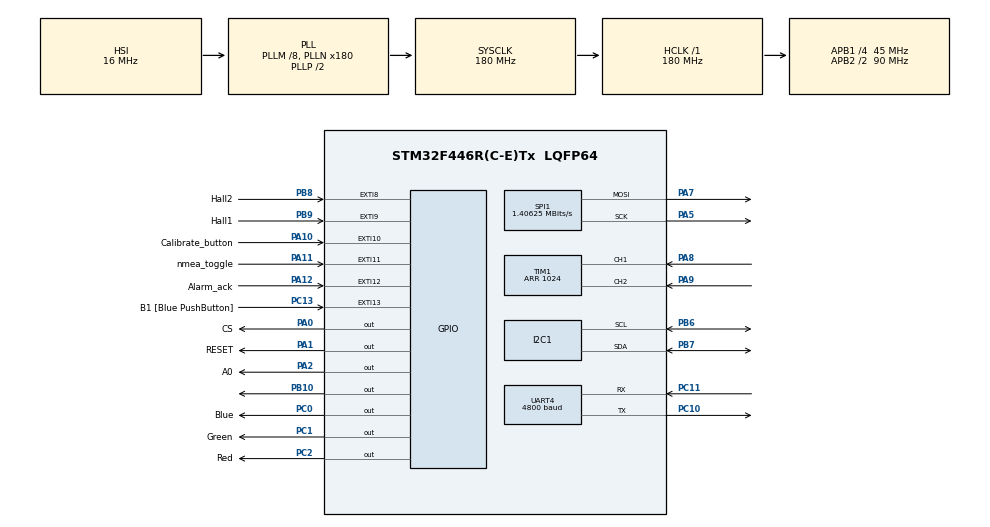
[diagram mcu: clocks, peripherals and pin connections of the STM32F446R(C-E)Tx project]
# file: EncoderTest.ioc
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Mcu.Family=STM32F4
Mcu.Name=STM32F446R(C-E)Tx
Mcu.Package=LQFP64
NVIC.EXTI15_10_IRQn=true\:0\:0\:false\:false\:true\:true\:true\:true
NVIC.EXTI9_5_IRQn=true\:0\:0\:false\:true\:true\:4\:true\:true\:true
NVIC.PriorityGroup=NVIC_PRIORITYGROUP_0
NVIC.TIM2_IRQn=true\:0\:0\:false\:true\:true\:1\:true\:true\:true
NVIC.TIM3_IRQn=true\:0\:0\:false\:true\:true\:2\:true\:true\:true
NVIC.UART4_IRQn=true\:0\:0\:false\:true\:true\:3\:true\:true\:true
PA0-WKUP.GPIO_Label=CS
PA0-WKUP.Signal=GPIO_Output
PA1.GPIO_Label=RESET
PA1.Signal=GPIO_Output
PA10.GPIO_Label=Calibrate_button
PA10.GPIO_PuPd=GPIO_PULLDOWN
PA10.Signal=GPXTI10
PA11.GPIO_Label=nmea_toggle
PA11.GPIO_PuPd=GPIO_PULLDOWN
PA11.Signal=GPXTI11
PA12.GPIO_Label=Alarm_ack
PA12.GPIO_PuPd=GPIO_PULLDOWN
PA12.Signal=GPXTI12
PA13.GPIO_Label=TMS
PA13.Mode=Trace_Asynchronous_SW
PA13.Signal=SYS_JTMS-SWDIO
PA14.GPIO_Label=TCK
PA14.Mode=Trace_Asynchronous_SW
PA14.Signal=SYS_JTCK-SWCLK
PA2.GPIO_Label=A0
PA2.Signal=GPIO_Output
PA3.GPIO_Label=USART_RX
PA3.Signal=USART2_RX
PA5.Mode=TX_Only_Simplex_Unidirect_Master
PA5.Signal=SPI1_SCK
PA7.Mode=TX_Only_Simplex_Unidirect_Master
PA7.Signal=SPI1_MOSI
PA8.Signal=S_TIM1_CH1
PA9.Signal=S_TIM1_CH2
PB10.Signal=GPIO_Output
PB3.GPIO_Label=SWO
PB3.Mode=Trace_Asynchronous_SW
PB3.Signal=SYS_JTDO-SWO
PB6.Mode=I2C
PB6.Signal=I2C1_SCL
PB7.Mode=I2C
PB7.Signal=I2C1_SDA
PB8.GPIO_Label=Hall2
PB8.GPIO_ModeDefaultEXTI=GPIO_MODE_IT_RISING_FALLING
PB8.Signal=GPXTI8
PB9.GPIO_Label=Hall1
PB9.GPIO_ModeDefaultEXTI=GPIO_MODE_IT_RISING_FALLING
PB9.Signal=GPXTI9
PC0.GPIO_Label=Blue
PC0.Signal=GPIO_Output
PC1.GPIO_Label=Green
PC1.Signal=GPIO_Output
PC10.Mode=Asynchronous
PC10.Signal=UART4_TX
PC11.Mode=Asynchronous
PC11.Signal=UART4_RX
PC13.GPIO_Label=B1 [Blue PushButton]
PC13.GPIO_ModeDefaultEXTI=GPIO_MODE_IT_FALLING
PC13.Signal=GPXTI13
PC14-OSC32_IN.Signal=RCC_OSC32_IN
PC15-OSC32_OUT.Signal=RCC_OSC32_OUT
PC2.GPIO_Label=Red
PC2.Signal=GPIO_Output
PH0-OSC_IN.Mode=HSE-External-Oscillator
PH0-OSC_IN.Signal=RCC_OSC_IN
PH1-OSC_OUT.Mode=HSE-External-Oscillator
PH1-OSC_OUT.Signal=RCC_OSC_OUT
ProjectManager.HeapSize=0x200
ProjectManager.StackSize=0x400
ProjectManager.TargetToolchain=STM32CubeIDE
RCC.48MHZClocksFreq_Value=84000000
RCC.AHBFreq_Value=180000000
RCC.APB1CLKDivider=RCC_HCLK_DIV4
RCC.APB1Freq_Value=45000000
RCC.APB1TimFreq_Value=180000000
RCC.APB2CLKDivider=RCC_HCLK_DIV2
RCC.APB2Freq_Value=90000000
RCC.APB2TimFreq_Value=180000000
RCC.CortexFreq_Value=180000000
RCC.FLatency-AdvancedSettings=FLASH_LATENCY_5
RCC.HCLKFreq_Value=180000000
RCC.HSE_VALUE=8000000
RCC.HSI_VALUE=16000000
RCC.PLLM=8
RCC.PLLN=180
RCC.RCC_TIM_PRescaler_Selection=RCC_TIMPRES_ACTIVATED
RCC.SYSCLKFreq_VALUE=180000000
RCC.SYSCLKSource=RCC_SYSCLKSOURCE_PLLCLK
RCC.USBFreq_Value=180000000
RCC.VCOOutputFreq_Value=360000000
SH.S_TIM1_CH1.0=TIM1_CH1,Encoder_Interface
SH.S_TIM1_CH2.0=TIM1_CH2,Encoder_Interface
SPI1.BaudRatePrescaler=SPI_BAUDRATEPRESCALER_64
SPI1.CalculateBaudRate=1.40625 MBits/s
SPI1.Direction=SPI_DIRECTION_2LINES
SPI1.Mode=SPI_MODE_MASTER
SPI1.VirtualType=VM_MASTER
TIM1.Period=1024
TIM2.Period=37500
TIM2.Prescaler=0
TIM2.TIM_MasterOutputTrigger=TIM_TRGO_RESET
TIM2.TIM_MasterSlaveMode=TIM_MASTERSLAVEMODE_DISABLE
TIM3.Period=10000-1
TIM3.Prescaler=10-1
UART4.BaudRate=4800
UART4.Mode=MODE_RX
UART4.VirtualMode=Asynchronous
VP_TIM2_VS_ClockSourceINT.Mode=Internal
VP_TIM3_VS_ClockSourceINT.Mode=Internal
board=NUCLEO-F446RE

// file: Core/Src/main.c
/* USER CODE BEGIN Header */
/**
  ******************************************************************************
  * @file           : main.c
  * @brief          : Main program body
  ******************************************************************************
  * @attention
  *
  * Copyright (c) 2025 STMicroelectronics.
  * All rights reserved.
  *
  * This software is licensed under terms that can be found in the LICENSE file
  * in the root directory of this software component.
  * If no LICENSE file comes with this software, it is provided AS-IS.
  *
  ******************************************************************************
  */
/* USER CODE END Header */
#include "main.h"

/* USER CODE BEGIN Includes */
#include <stdio.h>
#include <stdlib.h>// only for absolute value in calc depth function could remove if we get low on space
#include <math.h>
#include "bmi323.h"
#include "common.h"
#include "bmi3.h"
#include <string.h>

#include"ST7565.h"
#include"RDB_depth_digits_36x58.h"
#include"RDB_Functions.h"
/* USER CODE END Includes */

I2C_HandleTypeDef hi2c1;

SPI_HandleTypeDef hspi1;

TIM_HandleTypeDef htim1;
TIM_HandleTypeDef htim2;
TIM_HandleTypeDef htim3;

UART_HandleTypeDef huart4;

void SystemClock_Config(void);
void PeriphCommonClock_Config(void);
static void MX_GPIO_Init(void);
static void MX_TIM1_Init(void);
static void MX_I2C1_Init(void);
static void MX_TIM2_Init(void);
static void MX_TIM3_Init(void);
static void MX_UART4_Init(void);
static void MX_SPI1_Init(void);
static void MX_NVIC_Init(void);
/* USER CODE BEGIN PFP */
static int8_t set_accel_gyro_config(struct bmi3_dev *dev);
static float  lsb_to_g  (int16_t val, float g_range, uint8_t bit_width);
static float  lsb_to_dps(int16_t val, float dps,     uint8_t bit_width);
void check_buffer();
void clear_buff();
static void on_A_rise();
static void on_A_fall();
static void on_B_rise();
static void on_B_fall();
void calculate_depth();
void check_angle();
void compare_depths();
void reset_depth();
void update_backlight();

/* USER CODE END PFP */

/* USER CODE BEGIN 0 */
//encoder stuff
uint32_t position=0;
float angle=0.0;

uint32_t hall_data =  0;

//nmea stuff
uint8_t rx_buff[1];
unsigned char nmea[87];
uint8_t i=0;

//hall effect stuff
volatile uint8_t HallA = 1;
volatile uint8_t HallB = 1;

volatile uint32_t magnets_total = 0;
volatile uint32_t magnets_cw    = 0;
volatile uint32_t magnets_ccw   = 0;
volatile int32_t  magnets_net   = 0;// cw - ccw

float magnets_in_array=4.0;
float circumference_inches = 7.22; // measured 2.3 inches diameter by calipers

float line_out=0.0;
float depth_ft=0.0;
uint8_t nmea_on=0;
uint8_t motor_on=0;

int nmea_depth_ft=50;

uint32_t last_button=0;

uint8_t debounce=250;
typedef enum {
  IDLE = 0,
  WAIT_B_AFTER_A=1,
  WAIT_A_AFTER_B=2
} state;

static volatile state  Magnet_st= IDLE;

uint8_t BL_state=1;

uint32_t Last_tick=0;

uint32_t Blink_period=2000;

uint8_t blink=0;

/* Sensor initialization configuration. */
 struct bmi3_dev dev = { 0 };

 /* Status of API are returned to this variable. */
 int8_t rslt;

 /* Variable to define limit to print accel data. */
 uint16_t limit = 100;

 /* Create an instance of sensor data structure. */
 struct bmi3_sensor_data sensor_data[3] = { 0 };

 /* Initialize the interrupt status of accel. */
 uint16_t int_status = 0;

 /* Variable to store temperature */
 float temperature_value;

 uint8_t indx = 0;
 float acc_x = 0, acc_y = 0, acc_z = 0;
 float gyr_x = 0, gyr_y = 0, gyr_z = 0;

/* USER CODE END 0 */

int main(void)
{

  /* MCU Configuration--------------------------------------------------------*/

  /* Reset of all peripherals, Initializes the Flash interface and the Systick. */
  HAL_Init();

  /* Configure the system clock */
  SystemClock_Config();

  /* Configure the peripherals common clocks */
  PeriphCommonClock_Config();

  /* Initialize all configured peripherals */
  MX_GPIO_Init();
  MX_TIM1_Init();
  MX_I2C1_Init();
  MX_TIM2_Init();
  MX_TIM3_Init();
  MX_UART4_Init();
  MX_SPI1_Init();

  /* Initialize interrupts */
  MX_NVIC_Init();
  /* USER CODE BEGIN 2 */
  HAL_TIM_Encoder_Start(&htim1, TIM_CHANNEL_ALL);

  HAL_UART_Receive_IT(&huart4, rx_buff, 1);
  //copied code from library Bosch bmi323

   /* Function to select interface between SPI and I2C, according to that the device structure gets updated.
    * Interface reference is given as a parameter
    * For I2C : BMI3_I2C_INTF
    * For SPI : BMI3_SPI_INTF
    */
  /* Select accel and gyro sensor. */
   sensor_data[0].type = BMI323_ACCEL;
   sensor_data[1].type = BMI323_GYRO;
   sensor_data[2].type = BMI323_TEMP;
   rslt = bmi3_interface_init(&dev, BMI3_I2C_INTF);
   bmi3_error_codes_print_result("bmi3_interface_init", rslt);

   /* Initialize bmi323. */
   rslt = bmi323_init(&dev);
   bmi3_error_codes_print_result("bmi323_init", rslt);
   ST7565_init();

//end of copied code the rest is in while loop sd

  /* USER CODE END 2 */

  /* Infinite loop */
  /* USER CODE BEGIN WHILE */
  while (1)
  {
	  /* Infinite loop

      //copied  direct read (no interrupt status check)
	    if (rslt == BMI323_OK)
	    {
	        // Accel and Gyro configuration settings.
	        rslt = set_accel_gyro_config(&dev);

	        if (rslt == BMI323_OK)
	        {
	            //printf(
	            //    "\nData set, Acc_Raw_X, Acc_Raw_Y, Acc_Raw_Z, Acc_G_X, Acc_G_Y, Acc_G_Z,  Gyr_Raw_X, Gyr_Raw_Y, Gyr_Raw_Z, Gyr_dps_X, Gyr_dps_Y, Gyr_dps_Z, Temperature data (Degree celsius), SensorTime(secs)\n\n");

	                // To get the status of accel data ready interrupt.
	                rslt = bmi323_get_int1_status(&int_status, &dev);
	                bmi3_error_codes_print_result("bmi323_get_int1_status", rslt);

	            // To check the accel data ready interrupt status and print the status for 100 samples.
	                if ((int_status & BMI3_INT_STATUS_ACC_DRDY) && (int_status & BMI3_INT_STATUS_GYR_DRDY) &&
	                    (int_status & BMI3_INT_STATUS_TEMP_DRDY))
	                {
	                    //Get accelerometer data for x, y and z axis.
	                    rslt = bmi323_get_sensor_data(sensor_data, 3, &dev);
	                    bmi3_error_codes_print_result("bmi323_get_sensor_data", rslt);

	                     //Converting lsb to gravity for 16 bit accelerometer at 2G range.
	                    gyr_x = lsb_to_g(sensor_data[0].sens_data.acc.x, 2.0f, dev.resolution);
	                    gyr_y = lsb_to_g(sensor_data[0].sens_data.acc.y, 2.0f, dev.resolution);
	                    gyr_z = lsb_to_g(sensor_data[0].sens_data.acc.z, 2.0f, dev.resolution);

	                   // Converting lsb to degree per second for 16 bit gyro at 2000dps range.
	                    acc_x = lsb_to_dps(sensor_data[1].sens_data.gyr.x, (float)2000, dev.resolution);
	                    acc_y = lsb_to_dps(sensor_data[1].sens_data.gyr.y, (float)2000, dev.resolution);
	                    acc_z = lsb_to_dps(sensor_data[1].sens_data.gyr.z, (float)2000, dev.resolution);

	                    temperature_value =
	                        (float)((((float)((int16_t)sensor_data[2].sens_data.temp.temp_data)) / 512.0) + 23.0);

	                    // Print the accel data in gravity and gyro data in dps.
	                    printf("%d, %d, %d, %d, %4.2f, %4.2f, %4.2f, %d, %d, %d, %4.2f, %4.2f, %4.2f, %f, %.4lf\n",
	                           indx,
	                           sensor_data[0].sens_data.acc.x,
	                           sensor_data[0].sens_data.acc.y,
	                           sensor_data[0].sens_data.acc.z,
	                           acc_x,
	                           acc_y,
	                           acc_z,
	                           sensor_data[1].sens_data.gyr.x,
	                           sensor_data[1].sens_data.gyr.y,
	                           sensor_data[1].sens_data.gyr.z,
	                           gyr_x,
	                           gyr_y,
	                           gyr_z,
	                           temperature_value,
	                           (sensor_data[1].sens_data.temp.sens_time * BMI3_SENSORTIME_RESOLUTION));

	            }
	        }
	    }

  	  	 */

	  check_buffer();
	  check_angle();
	  calculate_depth(); //calculates depth
	  parseDepthVal((int)(round(depth_ft)),nmea_on);

	  compare_depths(); // this is only function that controls motor comment it out when necessary

	  update_backlight();

    /* USER CODE END WHILE */

  }
}

void SystemClock_Config(void)
{
  RCC_OscInitTypeDef RCC_OscInitStruct = {0};
  RCC_ClkInitTypeDef RCC_ClkInitStruct = {0};

  /** Configure the main internal regulator output voltage
  */
  __HAL_RCC_PWR_CLK_ENABLE();
  __HAL_PWR_VOLTAGESCALING_CONFIG(PWR_REGULATOR_VOLTAGE_SCALE1);

  /** Initializes the RCC Oscillators according to the specified parameters
  * in the RCC_OscInitTypeDef structure.
  */
  RCC_OscInitStruct.OscillatorType = RCC_OSCILLATORTYPE_HSI;
  RCC_OscInitStruct.HSIState = RCC_HSI_ON;
  RCC_OscInitStruct.HSICalibrationValue = RCC_HSICALIBRATION_DEFAULT;
  RCC_OscInitStruct.PLL.PLLState = RCC_PLL_ON;
  RCC_OscInitStruct.PLL.PLLSource = RCC_PLLSOURCE_HSI;
  RCC_OscInitStruct.PLL.PLLM = 8;
  RCC_OscInitStruct.PLL.PLLN = 180;
  RCC_OscInitStruct.PLL.PLLP = RCC_PLLP_DIV2;
  RCC_OscInitStruct.PLL.PLLQ = 2;
  RCC_OscInitStruct.PLL.PLLR = 2;
  if (HAL_RCC_OscConfig(&RCC_OscInitStruct) != HAL_OK)
  {
    Error_Handler();
  }

  /** Activate the Over-Drive mode
  */
  if (HAL_PWREx_EnableOverDrive() != HAL_OK)
  {
    Error_Handler();
  }

  /** Initializes the CPU, AHB and APB buses clocks
  */
  RCC_ClkInitStruct.ClockType = RCC_CLOCKTYPE_HCLK|RCC_CLOCKTYPE_SYSCLK
                              |RCC_CLOCKTYPE_PCLK1|RCC_CLOCKTYPE_PCLK2;
  RCC_ClkInitStruct.SYSCLKSource = RCC_SYSCLKSOURCE_PLLCLK;
  RCC_ClkInitStruct.AHBCLKDivider = RCC_SYSCLK_DIV1;
  RCC_ClkInitStruct.APB1CLKDivider = RCC_HCLK_DIV4;
  RCC_ClkInitStruct.APB2CLKDivider = RCC_HCLK_DIV2;

  if (HAL_RCC_ClockConfig(&RCC_ClkInitStruct, FLASH_LATENCY_5) != HAL_OK)
  {
    Error_Handler();
  }
}

void PeriphCommonClock_Config(void)
{
  RCC_PeriphCLKInitTypeDef PeriphClkInitStruct = {0};

  /** Initializes the peripherals clock
  */
  PeriphClkInitStruct.PeriphClockSelection = RCC_PERIPHCLK_TIM;
  PeriphClkInitStruct.TIMPresSelection = RCC_TIMPRES_ACTIVATED;
  if (HAL_RCCEx_PeriphCLKConfig(&PeriphClkInitStruct) != HAL_OK)
  {
    Error_Handler();
  }
}

/**
  * @brief NVIC Configuration.
  * @retval None
  */
static void MX_NVIC_Init(void)
{
  /* TIM2_IRQn interrupt configuration */
  HAL_NVIC_SetPriority(TIM2_IRQn, 0, 0);
  HAL_NVIC_EnableIRQ(TIM2_IRQn);
  /* TIM3_IRQn interrupt configuration */
  HAL_NVIC_SetPriority(TIM3_IRQn, 0, 0);
  HAL_NVIC_EnableIRQ(TIM3_IRQn);
  /* UART4_IRQn interrupt configuration */
  HAL_NVIC_SetPriority(UART4_IRQn, 0, 0);
  HAL_NVIC_EnableIRQ(UART4_IRQn);
  /* EXTI9_5_IRQn interrupt configuration */
  HAL_NVIC_SetPriority(EXTI9_5_IRQn, 0, 0);
  HAL_NVIC_EnableIRQ(EXTI9_5_IRQn);
}

static void MX_I2C1_Init(void)
{

  hi2c1.Instance = I2C1;
  hi2c1.Init.ClockSpeed = 100000;
  hi2c1.Init.DutyCycle = I2C_DUTYCYCLE_2;
  hi2c1.Init.OwnAddress1 = 0;
  hi2c1.Init.AddressingMode = I2C_ADDRESSINGMODE_7BIT;
  hi2c1.Init.DualAddressMode = I2C_DUALADDRESS_DISABLE;
  hi2c1.Init.OwnAddress2 = 0;
  hi2c1.Init.GeneralCallMode = I2C_GENERALCALL_DISABLE;
  hi2c1.Init.NoStretchMode = I2C_NOSTRETCH_DISABLE;
  if (HAL_I2C_Init(&hi2c1) != HAL_OK)
  {
    Error_Handler();
  }

}

static void MX_SPI1_Init(void)
{

  /* SPI1 parameter configuration*/
  hspi1.Instance = SPI1;
  hspi1.Init.Mode = SPI_MODE_MASTER;
  hspi1.Init.Direction = SPI_DIRECTION_2LINES;
  hspi1.Init.DataSize = SPI_DATASIZE_8BIT;
  hspi1.Init.CLKPolarity = SPI_POLARITY_LOW;
  hspi1.Init.CLKPhase = SPI_PHASE_1EDGE;
  hspi1.Init.NSS = SPI_NSS_SOFT;
  hspi1.Init.BaudRatePrescaler = SPI_BAUDRATEPRESCALER_64;
  hspi1.Init.FirstBit = SPI_FIRSTBIT_MSB;
  hspi1.Init.TIMode = SPI_TIMODE_DISABLE;
  hspi1.Init.CRCCalculation = SPI_CRCCALCULATION_DISABLE;
  hspi1.Init.CRCPolynomial = 10;
  if (HAL_SPI_Init(&hspi1) != HAL_OK)
  {
    Error_Handler();
  }

}

static void MX_TIM1_Init(void)
{

  TIM_Encoder_InitTypeDef sConfig = {0};
  TIM_MasterConfigTypeDef sMasterConfig = {0};

  htim1.Instance = TIM1;
  htim1.Init.Prescaler = 0;
  htim1.Init.CounterMode = TIM_COUNTERMODE_UP;
  htim1.Init.Period = 1024;
  htim1.Init.ClockDivision = TIM_CLOCKDIVISION_DIV1;
  htim1.Init.RepetitionCounter = 0;
  htim1.Init.AutoReloadPreload = TIM_AUTORELOAD_PRELOAD_DISABLE;
  sConfig.EncoderMode = TIM_ENCODERMODE_TI1;
  sConfig.IC1Polarity = TIM_ICPOLARITY_RISING;
  sConfig.IC1Selection = TIM_ICSELECTION_DIRECTTI;
  sConfig.IC1Prescaler = TIM_ICPSC_DIV1;
  sConfig.IC1Filter = 0;
  sConfig.IC2Polarity = TIM_ICPOLARITY_RISING;
  sConfig.IC2Selection = TIM_ICSELECTION_DIRECTTI;
  sConfig.IC2Prescaler = TIM_ICPSC_DIV1;
  sConfig.IC2Filter = 0;
  if (HAL_TIM_Encoder_Init(&htim1, &sConfig) != HAL_OK)
  {
    Error_Handler();
  }
  sMasterConfig.MasterOutputTrigger = TIM_TRGO_RESET;
  sMasterConfig.MasterSlaveMode = TIM_MASTERSLAVEMODE_DISABLE;
  if (HAL_TIMEx_MasterConfigSynchronization(&htim1, &sMasterConfig) != HAL_OK)
  {
    Error_Handler();
  }

}

static void MX_TIM2_Init(void)
{

  TIM_ClockConfigTypeDef sClockSourceConfig = {0};
  TIM_MasterConfigTypeDef sMasterConfig = {0};

  htim2.Instance = TIM2;
  htim2.Init.Prescaler = 0;
  htim2.Init.CounterMode = TIM_COUNTERMODE_UP;
  htim2.Init.Period = 37500;
  htim2.Init.ClockDivision = TIM_CLOCKDIVISION_DIV1;
  htim2.Init.AutoReloadPreload = TIM_AUTORELOAD_PRELOAD_DISABLE;
  if (HAL_TIM_Base_Init(&htim2) != HAL_OK)
  {
    Error_Handler();
  }
  sClockSourceConfig.ClockSource = TIM_CLOCKSOURCE_INTERNAL;
  if (HAL_TIM_ConfigClockSource(&htim2, &sClockSourceConfig) != HAL_OK)
  {
    Error_Handler();
  }
  sMasterConfig.MasterOutputTrigger = TIM_TRGO_RESET;
  sMasterConfig.MasterSlaveMode = TIM_MASTERSLAVEMODE_DISABLE;
  if (HAL_TIMEx_MasterConfigSynchronization(&htim2, &sMasterConfig) != HAL_OK)
  {
    Error_Handler();
  }

}

static void MX_TIM3_Init(void)
{

  TIM_ClockConfigTypeDef sClockSourceConfig = {0};
  TIM_MasterConfigTypeDef sMasterConfig = {0};

  htim3.Instance = TIM3;
  htim3.Init.Prescaler = 10-1;
  htim3.Init.CounterMode = TIM_COUNTERMODE_UP;
  htim3.Init.Period = 10000-1;
  htim3.Init.ClockDivision = TIM_CLOCKDIVISION_DIV1;
  htim3.Init.AutoReloadPreload = TIM_AUTORELOAD_PRELOAD_DISABLE;
  if (HAL_TIM_Base_Init(&htim3) != HAL_OK)
  {
    Error_Handler();
  }
  sClockSourceConfig.ClockSource = TIM_CLOCKSOURCE_INTERNAL;
  if (HAL_TIM_ConfigClockSource(&htim3, &sClockSourceConfig) != HAL_OK)
  {
    Error_Handler();
  }
  sMasterConfig.MasterOutputTrigger = TIM_TRGO_RESET;
  sMasterConfig.MasterSlaveMode = TIM_MASTERSLAVEMODE_DISABLE;
  if (HAL_TIMEx_MasterConfigSynchronization(&htim3, &sMasterConfig) != HAL_OK)
  {
    Error_Handler();
  }

}

static void MX_UART4_Init(void)
{

  huart4.Instance = UART4;
  huart4.Init.BaudRate = 4800;
  huart4.Init.WordLength = UART_WORDLENGTH_8B;
  huart4.Init.StopBits = UART_STOPBITS_1;
  huart4.Init.Parity = UART_PARITY_NONE;
  huart4.Init.Mode = UART_MODE_RX;
  huart4.Init.HwFlowCtl = UART_HWCONTROL_NONE;
  huart4.Init.OverSampling = UART_OVERSAMPLING_16;
  if (HAL_UART_Init(&huart4) != HAL_OK)
  {
    Error_Handler();
  }

}

static void MX_GPIO_Init(void)
{
  GPIO_InitTypeDef GPIO_InitStruct = {0};

  /* GPIO Ports Clock Enable */
  __HAL_RCC_GPIOC_CLK_ENABLE();
  __HAL_RCC_GPIOH_CLK_ENABLE();
  __HAL_RCC_GPIOA_CLK_ENABLE();
  __HAL_RCC_GPIOB_CLK_ENABLE();

  /*Configure GPIO pin Output Level */
  HAL_GPIO_WritePin(GPIOC, Blue_Pin|Green_Pin|Red_Pin, GPIO_PIN_RESET);

  /*Configure GPIO pin Output Level */
  HAL_GPIO_WritePin(GPIOA, CS_Pin|RESET_Pin|A0_Pin, GPIO_PIN_RESET);

  /*Configure GPIO pin Output Level */
  HAL_GPIO_WritePin(GPIOB, GPIO_PIN_10, GPIO_PIN_RESET);

  /*Configure GPIO pin : B1_Pin */
  GPIO_InitStruct.Pin = B1_Pin;
  GPIO_InitStruct.Mode = GPIO_MODE_IT_FALLING;
  GPIO_InitStruct.Pull = GPIO_NOPULL;
  HAL_GPIO_Init(B1_GPIO_Port, &GPIO_InitStruct);

  /*Configure GPIO pins : Blue_Pin Green_Pin Red_Pin */
  GPIO_InitStruct.Pin = Blue_Pin|Green_Pin|Red_Pin;
  GPIO_InitStruct.Mode = GPIO_MODE_OUTPUT_PP;
  GPIO_InitStruct.Pull = GPIO_NOPULL;
  GPIO_InitStruct.Speed = GPIO_SPEED_FREQ_LOW;
  HAL_GPIO_Init(GPIOC, &GPIO_InitStruct);

  /*Configure GPIO pins : CS_Pin RESET_Pin A0_Pin */
  GPIO_InitStruct.Pin = CS_Pin|RESET_Pin|A0_Pin;
  GPIO_InitStruct.Mode = GPIO_MODE_OUTPUT_PP;
  GPIO_InitStruct.Pull = GPIO_NOPULL;
  GPIO_InitStruct.Speed = GPIO_SPEED_FREQ_LOW;
  HAL_GPIO_Init(GPIOA, &GPIO_InitStruct);

  /*Configure GPIO pin : USART_RX_Pin */
  GPIO_InitStruct.Pin = USART_RX_Pin;
  GPIO_InitStruct.Mode = GPIO_MODE_AF_PP;
  GPIO_InitStruct.Pull = GPIO_NOPULL;
  GPIO_InitStruct.Speed = GPIO_SPEED_FREQ_VERY_HIGH;
  GPIO_InitStruct.Alternate = GPIO_AF7_USART2;
  HAL_GPIO_Init(USART_RX_GPIO_Port, &GPIO_InitStruct);

  /*Configure GPIO pin : PB10 */
  GPIO_InitStruct.Pin = GPIO_PIN_10;
  GPIO_InitStruct.Mode = GPIO_MODE_OUTPUT_PP;
  GPIO_InitStruct.Pull = GPIO_NOPULL;
  GPIO_InitStruct.Speed = GPIO_SPEED_FREQ_LOW;
  HAL_GPIO_Init(GPIOB, &GPIO_InitStruct);

  /*Configure GPIO pins : Calibrate_button_Pin nmea_toggle_Pin Alarm_ack_Pin */
  GPIO_InitStruct.Pin = Calibrate_button_Pin|nmea_toggle_Pin|Alarm_ack_Pin;
  GPIO_InitStruct.Mode = GPIO_MODE_IT_RISING;
  GPIO_InitStruct.Pull = GPIO_PULLDOWN;
  HAL_GPIO_Init(GPIOA, &GPIO_InitStruct);

  /*Configure GPIO pins : Hall2_Pin Hall1_Pin */
  GPIO_InitStruct.Pin = Hall2_Pin|Hall1_Pin;
  GPIO_InitStruct.Mode = GPIO_MODE_IT_RISING_FALLING;
  GPIO_InitStruct.Pull = GPIO_NOPULL;
  HAL_GPIO_Init(GPIOB, &GPIO_InitStruct);

  /* EXTI interrupt init*/
  HAL_NVIC_SetPriority(EXTI15_10_IRQn, 0, 0);
  HAL_NVIC_EnableIRQ(EXTI15_10_IRQn);

}

/* USER CODE BEGIN 4 */
int __io_putchar(int ch)
{
	ITM_SendChar(ch);
	return 0;
}
void HAL_UART_RxCpltCallback(UART_HandleTypeDef *huart)
{
	if(huart->Instance == UART4){
		nmea[i]=rx_buff[0];
		i++;
		HAL_UART_Receive_IT(&huart4, rx_buff, 1);
	}
}
void check_buffer(){
	const char delim[] = ",";
	char *token;
	if(nmea[0]!=36){
		i=0;
	}
	if(nmea[i-1]==10){

		i=0;
		if (nmea[0]!='$'){
			printf("error");
		}

		printf(nmea);
		if(nmea[3]=='D' && nmea[4]=='B' && nmea[5]=='T'){
			token = strtok(nmea, delim);
			token = strtok(NULL, delim);
			nmea_depth_ft=atoi(token);
		}

		clear_buff();
	}
}
void clear_buff(){
//	for(int x=86; x>-1;--x){
//		nmea[x]= '';
//
//	}
	//actually only need this one line
	memset(&nmea,0,87);
}

//taken from bmi323 lib
static int8_t set_accel_gyro_config(struct bmi3_dev *dev)
{
    /* Status of API are returned to this variable. */
    int8_t rslt;

    /* Structure to define accelerometer configuration. */
    struct bmi3_sens_config config[2];

    /* Structure to map interrupt */
    struct bmi3_map_int map_int = { 0 };

    /* Configure the type of feature. */
    config[0].type = BMI323_ACCEL;
    config[1].type = BMI323_GYRO;

    /* Get default configurations for the type of feature selected. */
    rslt = bmi323_get_sensor_config(config, 2, dev);
    bmi3_error_codes_print_result("bmi323_get_sensor_config", rslt);

    if (rslt == BMI323_OK)
    {
        map_int.acc_drdy_int = BMI3_INT1;
        map_int.gyr_drdy_int = BMI3_INT1;
        map_int.temp_drdy_int = BMI3_INT1;

        /* Map data ready interrupt to interrupt pin. */
        rslt = bmi323_map_interrupt(map_int, dev);
        bmi3_error_codes_print_result("bmi323_map_interrupt", rslt);

        if (rslt == BMI323_OK)
        {
            /* NOTE: The user can change the following configuration parameters according to their requirement. */
            /* Output Data Rate. By default ODR is set as 100Hz for accel. */
            config[0].cfg.acc.odr = BMI3_ACC_ODR_50HZ;

            /* Gravity range of the sensor (+/- 2G, 4G, 8G, 16G). */
            config[0].cfg.acc.range = BMI3_ACC_RANGE_2G;

            /* The Accel bandwidth coefficient defines the 3 dB cutoff frequency in relation to the ODR. */
            config[0].cfg.acc.bwp = BMI3_ACC_BW_ODR_QUARTER;

            /* Set number of average samples for accel. */
            config[0].cfg.acc.avg_num = BMI3_ACC_AVG64;

            /* Enable the accel mode where averaging of samples
             * will be done based on above set bandwidth and ODR.
             * Note : By default accel is disabled. The accel will get enable by selecting the mode.
             */
            config[0].cfg.acc.acc_mode = BMI3_ACC_MODE_NORMAL;

            /* Output Data Rate. By default ODR is set as 100Hz for gyro. */
            config[1].cfg.gyr.odr = BMI3_GYR_ODR_50HZ;

            /* Gyroscope Angular Rate Measurement Range. By default the range is 2000dps. */
            config[1].cfg.gyr.range = BMI3_GYR_RANGE_2000DPS;

            /*  The Gyroscope bandwidth coefficient defines the 3 dB cutoff frequency in relation to the ODR
             *  Value   Name      Description
             *    0   odr_half   BW = gyr_odr/2
             *    1  odr_quarter BW = gyr_odr/4
             */
            config[1].cfg.gyr.bwp = BMI3_GYR_BW_ODR_HALF;

            /* By default the gyro is disabled. Gyro is enabled by selecting the mode. */
            config[1].cfg.gyr.gyr_mode = BMI3_GYR_MODE_NORMAL;

            /* Value    Name    Description
             *  0b000     avg_1   No averaging; pass sample without filtering
             *  0b001     avg_2   Averaging of 2 samples
             *  0b010     avg_4   Averaging of 4 samples
             *  0b011     avg_8   Averaging of 8 samples
             *  0b100     avg_16  Averaging of 16 samples
             *  0b101     avg_32  Averaging of 32 samples
             *  0b110     avg_64  Averaging of 64 samples
             */
            config[1].cfg.gyr.avg_num = BMI3_GYR_AVG1;

            /* Set the accel and gyro configurations. */
            rslt = bmi323_set_sensor_config(config, 2, dev);
            bmi3_error_codes_print_result("bmi323_set_sensor_config", rslt);
        }
    }

    return rslt;
}

/*! @brief Converts raw sensor values(LSB) to G value
 *
 *  @param[in] val        : Raw sensor value.
 *  @param[in] g_range    : Accel Range selected (4G).
 *  @param[in] bit_width  : Resolution of the sensor.
 *
 *  @return Accel values in Gravity(G)
 *
 */
static float lsb_to_g(int16_t val, float g_range, uint8_t bit_width)
{
    double power = 2;

    float half_scale = (float)((pow((double)power, (double)bit_width) / 2.0f));

    return (val * g_range) / half_scale;
}

/*!
 * @brief This function converts lsb to degree per second for 16 bit gyro at
 * range 125, 250, 500, 1000 or 2000dps.
 */
static float lsb_to_dps(int16_t val, float dps, uint8_t bit_width)
{
    double power = 2;

    float half_scale = (float)((pow((double)power, (double)bit_width) / 2.0f));

    return (dps / (half_scale)) * (val);
}

static void on_A_rise()
{
  switch (Magnet_st) {
    case IDLE:

    	Magnet_st = WAIT_B_AFTER_A;

    	break;
    case WAIT_A_AFTER_B:

      magnets_ccw++;
      magnets_total++;
      magnets_net= magnets_cw-magnets_ccw ;

      Magnet_st = IDLE; break;
    case WAIT_B_AFTER_A:
    	break;
  }
}

static void on_A_fall()
{
  if (Magnet_st == WAIT_B_AFTER_A && HallB) {

	  Magnet_st = IDLE;
  }
}

static void on_B_rise()
{
  switch (Magnet_st) {
    case IDLE:
    	Magnet_st = WAIT_A_AFTER_B;
    	break;
    case WAIT_B_AFTER_A:
      magnets_cw++;
      magnets_total++;
      magnets_net++;
      Magnet_st = IDLE;
      break;
    case WAIT_A_AFTER_B:
    	break;
  }
}

static void on_B_fall()
{
  if (Magnet_st == WAIT_A_AFTER_B && HallA) {

	  Magnet_st = IDLE;
  }
}
void calculate_depth(){
	magnets_net = magnets_cw - magnets_ccw;
	line_out = abs(magnets_net) * (circumference_inches/magnets_in_array)*(1.0/12.0);

	if((angle < 90.001)){
		depth_ft = line_out*(cos(angle*0.0174532925));
	}

}
void check_angle(){
	  position= TIM1->CNT;

	  //this is done in ext callback on button press
//	  if (!HAL_GPIO_ReadPin(GPIOA, GPIO_PIN_10)){
//		  __HAL_TIM_SET_COUNTER(&htim1,0);
//	  }

	  angle = (position/1024.0)*360;
	  //angle = (int)((position/2048.0)*360);

	  if (angle>180){
		angle = 360-angle;

	  }

}
void compare_depths(){
	if(nmea_on && !(BL_state==1)){
		if((int)depth_ft<10){
			HAL_GPIO_WritePin(GPIOB, GPIO_PIN_10, 0);
			motor_on=0;

			return;
		}else if(((int)depth_ft) >= nmea_depth_ft){
			//this line enables motor
			  HAL_GPIO_WritePin(GPIOB, GPIO_PIN_10, 1);
			  motor_on=1;

			  if(BL_state==2||BL_state==4||BL_state==5){
				  BL_state=3;
			  }

		}else if(motor_on && (((int)depth_ft) > (nmea_depth_ft - 5))){

			return;
		}else{
			  HAL_GPIO_WritePin(GPIOB, GPIO_PIN_10, 0);
			  motor_on=0;

			  if(BL_state==5){
				  BL_state=2;
			  }

		}
	}else{
		HAL_GPIO_WritePin(GPIOB, GPIO_PIN_10, 0);
		motor_on=0;
		if(((int)depth_ft) >= nmea_depth_ft){
			  if(BL_state==2||BL_state==3){
				  BL_state=4;
			  }
		}else{
			if(BL_state==3||BL_state==4||BL_state==5){
				BL_state=2;
			}
		}

	}

}
void reset_depth(){
	magnets_ccw=0;
	magnets_cw=0;
	return;
}

void update_backlight(){
	if(BL_state==1 || BL_state==4){
		 uint32_t now=HAL_GetTick();
		 if((now-Last_tick)>Blink_period){
			blink=!blink;

			Last_tick=now;

		}
	}else{
		blink=1;
	}

	switch(BL_state){
	case 1:
		//Flashing green needs zeroing
		if(blink){
			HAL_GPIO_WritePin(GPIOC, GPIO_PIN_0, 0);
			HAL_GPIO_WritePin(GPIOC, GPIO_PIN_1, 1);
			HAL_GPIO_WritePin(GPIOC, GPIO_PIN_2, 0);

		}else{
			HAL_GPIO_WritePin(GPIOC, GPIO_PIN_0, 1);
			HAL_GPIO_WritePin(GPIOC, GPIO_PIN_1, 1);
			HAL_GPIO_WritePin(GPIOC, GPIO_PIN_2, 1);
		}
		break;
	case 2:
		//Green all good
		HAL_GPIO_WritePin(GPIOC, GPIO_PIN_0, 0);
		HAL_GPIO_WritePin(GPIOC, GPIO_PIN_1, 1);
		HAL_GPIO_WritePin(GPIOC, GPIO_PIN_2, 0);
		break;
	case 3:
		//Red- motor reeling up or motor has reeled up and not been acknowledged
		HAL_GPIO_WritePin(GPIOC, GPIO_PIN_0, 0);
		HAL_GPIO_WritePin(GPIOC, GPIO_PIN_1, 0);
		HAL_GPIO_WritePin(GPIOC, GPIO_PIN_2, 1);
		break;
	case 4:
		//Flashing redd too close to bottom and not acknowledged and reel safe is off
		if(blink){
			HAL_GPIO_WritePin(GPIOC, GPIO_PIN_0, 0);
			HAL_GPIO_WritePin(GPIOC, GPIO_PIN_1, 0);
			HAL_GPIO_WritePin(GPIOC, GPIO_PIN_2, 1);

		}else{
			HAL_GPIO_WritePin(GPIOC, GPIO_PIN_0, 1);
			HAL_GPIO_WritePin(GPIOC, GPIO_PIN_1, 1);
			HAL_GPIO_WritePin(GPIOC, GPIO_PIN_2, 1);
		}
		break;
	case 5:
		//Blue is alarm acknolwged but still below depth threshold
		HAL_GPIO_WritePin(GPIOC, GPIO_PIN_0, 1);
		HAL_GPIO_WritePin(GPIOC, GPIO_PIN_1, 0);
		HAL_GPIO_WritePin(GPIOC, GPIO_PIN_2, 0);
		break;
	default:
		HAL_GPIO_WritePin(GPIOC, GPIO_PIN_0, 0);
		HAL_GPIO_WritePin(GPIOC, GPIO_PIN_1, 0);
		HAL_GPIO_WritePin(GPIOC, GPIO_PIN_2, 0);
		break;

	}

	return;
}

void HAL_GPIO_EXTI_Callback(uint16_t GPIO_Pin)
{

	if( (GPIO_Pin==Hall2_Pin) || (GPIO_Pin==Hall1_Pin) ){
		HallA = ((GPIOB->IDR) >> 9) & 1;
		HallB = ((GPIOB->IDR) >> 8) & 1;
	}
	  if (GPIO_Pin == Hall1_Pin) {

	    if (!HallA) {
	    	on_A_rise();
	    }
	    else
	    	on_A_fall();
	  }
	  else if (GPIO_Pin == Hall2_Pin) {
	    if (!HallB) {
	    	on_B_rise();
	    }
	    else
	    	on_B_fall();
	  }
	  if(GPIO_Pin == Calibrate_button_Pin){
		  __HAL_TIM_SET_COUNTER(&htim1,0); //reset angle
		  reset_depth();
		  if(BL_state==1){
			  BL_state=2;
		  }

	  }else if(GPIO_Pin == nmea_toggle_Pin){
		  uint32_t now=HAL_GetTick();
		  if((now-last_button)>debounce){
			  nmea_on=!nmea_on;
			  last_button=now;

		  }

	  } else if(GPIO_Pin == Alarm_ack_Pin){
		  if(BL_state==3 && !motor_on){
			  BL_state=2;
		  } else if (BL_state==4){
			  BL_state=5;
		  }
	  }

}

/* USER CODE END 4 */

void Error_Handler(void)
{
  __disable_irq();
  while (1)
  {
  }
}
